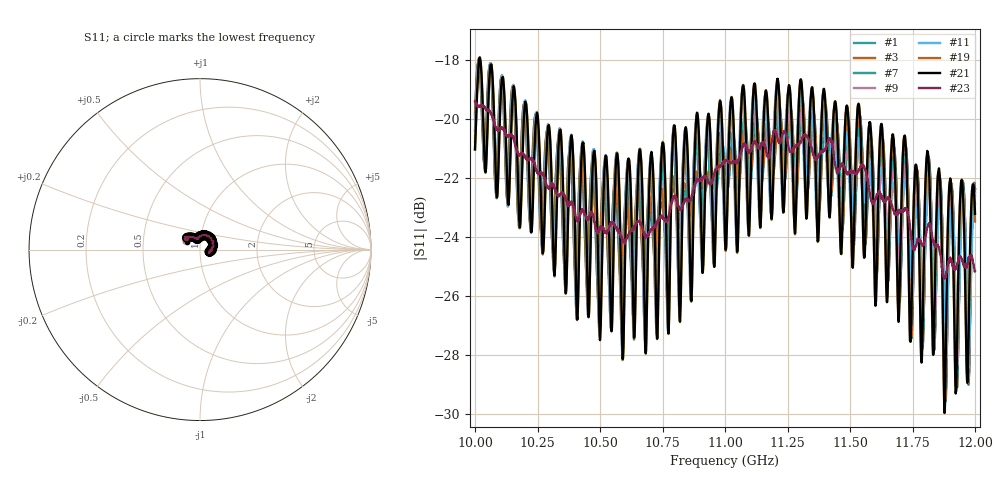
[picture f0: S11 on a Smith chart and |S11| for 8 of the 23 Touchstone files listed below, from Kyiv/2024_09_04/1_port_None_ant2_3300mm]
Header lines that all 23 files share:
[Version] 2.0
! Rohde & Schwarz Vector Network Analyzer
! Rohde-Schwarz,ZNL20-2Port,1323001220200009,1.71.1.10-23.02.1.238
! Port Assignments:
! Nominal Port -> Actual Test Port
!  1 -> 1
# Hz S DB R 50
[Number of Ports] 1
! freq[Hz]  S11[mag dB]  S11[ang]
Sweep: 10 GHz to 12 GHz
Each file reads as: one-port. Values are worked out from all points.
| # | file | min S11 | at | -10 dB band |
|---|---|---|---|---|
| 1 | 0.01.s1p | -29.6 dB | 11.88 GHz | over 2 GHz wide |
| 2 | 1.s1p | -29.6 dB | 11.88 GHz | over 2 GHz wide |
| 3 | 2.s1p | -29.5 dB | 11.88 GHz | over 2 GHz wide |
| 4 | 3.s1p | -29.6 dB | 11.88 GHz | over 2 GHz wide |
| 5 | 4.s1p | -29.5 dB | 11.88 GHz | over 2 GHz wide |
| 6 | 5.s1p | -29.3 dB | 11.88 GHz | over 2 GHz wide |
| 7 | 6.s1p | -29.2 dB | 11.88 GHz | over 2 GHz wide |
| 8 | 7.s1p | -29.0 dB | 11.88 GHz | over 2 GHz wide |
| 9 | 8.s1p | -28.6 dB | 11.88 GHz | over 2 GHz wide |
| 10 | 9.s1p | -28.3 dB | 11.88 GHz | over 2 GHz wide |
| 11 | 10.s1p | -28.2 dB | 10.59 GHz | over 2 GHz wide |
| 12 | 11.s1p | -28.2 dB | 10.59 GHz | over 2 GHz wide |
| 13 | 12.s1p | -28.2 dB | 10.59 GHz | over 2 GHz wide |
| 14 | 13.s1p | -28.2 dB | 10.59 GHz | over 2 GHz wide |
| 15 | 14.s1p | -28.2 dB | 10.59 GHz | over 2 GHz wide |
| 16 | 15.s1p | -28.5 dB | 11.88 GHz | over 2 GHz wide |
| 17 | 16.s1p | -29.0 dB | 11.88 GHz | over 2 GHz wide |
| 18 | 17.s1p | -29.5 dB | 11.88 GHz | over 2 GHz wide |
| 19 | 18.s1p | -29.8 dB | 11.88 GHz | over 2 GHz wide |
| 20 | 19.8.s1p | -30.1 dB | 11.88 GHz | over 2 GHz wide |
| 21 | 19.s1p | -30.0 dB | 11.88 GHz | over 2 GHz wide |
| 22 | metal.s1p | -30.2 dB | 11.88 GHz | over 2 GHz wide |
| 23 | noDUT.s1p | -25.4 dB | 11.88 GHz | over 2 GHz wide |
